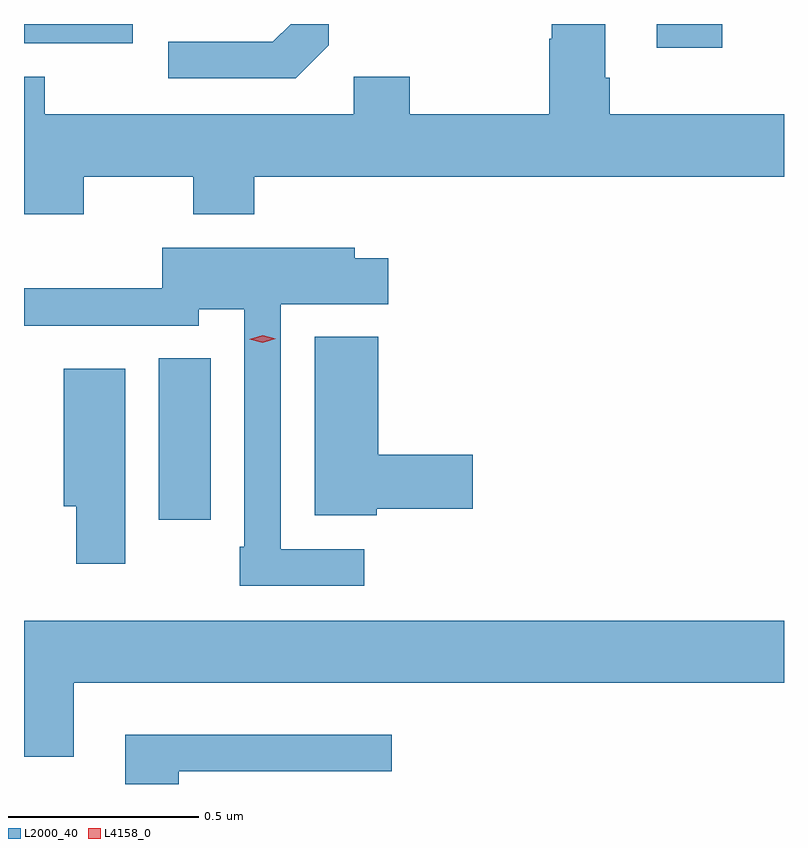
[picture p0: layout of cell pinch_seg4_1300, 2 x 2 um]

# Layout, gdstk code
import gdstk
lib = gdstk.Library(unit=1e-6, precision=1e-09)
def R(c, l, rs):  # rectangles x0, y0, x1, y1
    for r in rs: c.add(gdstk.rectangle(r[:2], r[2:], *l))
def P(c, l, *ps):  # polygons
    for p in ps: c.add(gdstk.Polygon(p, *l))
L2000_40 = (2000, 40)
L4158_0 = (4158, 0)

pinch_seg4_1300 = lib.new_cell('pinch_seg4_1300')
R(pinch_seg4_1300, L2000_40, [(231.728,783.93,231.865,784.355), (233.039,785.172,233.212,785.234), (231.374,785.184,231.66,785.234)])
P(pinch_seg4_1300, L2000_40, [(231.531,784.832),(231.82,784.832),(231.82,784.733),(231.98,784.733),(231.98,784.832),(233.374,784.832),(233.374,784.996),(232.916,784.996),(232.916,785.092),(232.903,785.092),(232.903,785.234),(232.763,785.234),(232.763,785.195),(232.756,785.195),(232.756,784.996),(232.389,784.996),(232.389,785.095),(232.242,785.095),(232.242,784.996),(231.429,784.996),(231.429,785.095),(231.374,785.095),(231.374,784.733),(231.531,784.733)],
  [(232.176,785.178),(232.176,785.234),(232.076,785.234),(232.029,785.187),(231.753,785.187),(231.753,785.091),(232.089,785.091)],
  [(232.27,783.852),(232.05,783.852),(232.05,784.496),(232.333,784.496),(232.333,784.618),(232.245,784.618),(232.245,784.645),(231.738,784.645),(231.738,784.538),(231.374,784.538),(231.374,784.44),(231.834,784.44),(231.834,784.484),(231.954,784.484),(231.954,783.859),(231.942,783.859),(231.942,783.756),(232.27,783.756)],
  [(232.302,783.958),(232.555,783.958),(232.555,784.1),(232.306,784.1),(232.306,784.411),(232.139,784.411),(232.139,783.941),(232.302,783.941)],
  [(231.64,784.327),(231.479,784.327),(231.479,783.965),(231.511,783.965),(231.511,783.813),(231.64,783.813)],
  [(231.505,783.5),(233.374,783.5),(233.374,783.664),(231.374,783.664),(231.374,783.306),(231.505,783.306)],
  [(231.781,783.267),(232.342,783.267),(232.342,783.364),(231.641,783.364),(231.641,783.234),(231.781,783.234)])
P(pinch_seg4_1300, L4158_0, [(232.002,784.395),(231.967,784.404),(231.967,784.404),(231.967,784.404),(232.002,784.415),(232.037,784.406),(232.037,784.406),(232.037,784.406)])

lib.write_gds('pinch_seg4_1300.gds')
